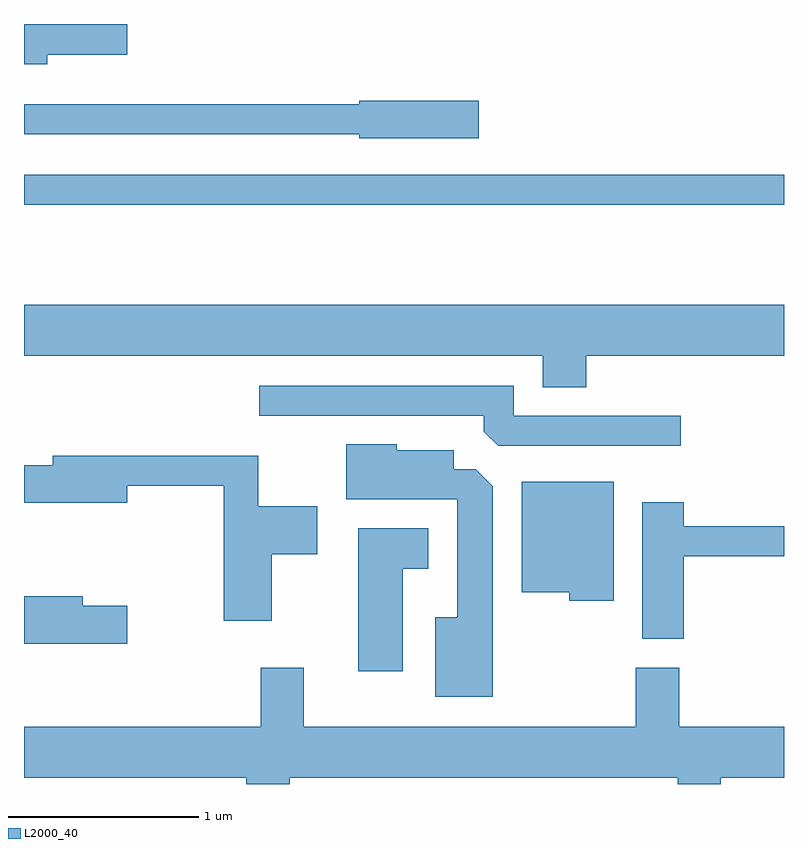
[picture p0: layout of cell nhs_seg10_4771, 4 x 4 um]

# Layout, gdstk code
import gdstk
lib = gdstk.Library(unit=1e-6, precision=1e-09)
def R(c, l, rs):  # rectangles x0, y0, x1, y1
    for r in rs: c.add(gdstk.rectangle(r[:2], r[2:], *l))
def P(c, l, *ps):  # polygons
    for p in ps: c.add(gdstk.Polygon(p, *l))
L2000_40 = (2000, 40)

nhs_seg10_4771 = lib.new_cell('nhs_seg10_4771')
R(nhs_seg10_4771, L2000_40, [(325.611,2143.571,329.611,2143.729)])
P(nhs_seg10_4771, L2000_40, [(325.734,2144.361),(326.154,2144.361),(326.154,2144.522),(325.611,2144.522),(325.611,2144.311),(325.734,2144.311)],
  [(328.004,2144.119),(327.376,2144.119),(327.376,2144.099),(325.611,2144.099),(325.611,2143.941),(327.376,2143.941),(327.376,2143.921),(328.004,2143.921)],
  [(328.569,2142.776),(329.611,2142.776),(329.611,2143.044),(325.611,2143.044),(325.611,2142.776),(328.341,2142.776),(328.341,2142.611),(328.569,2142.611)],
  [(329.068,2142.459),(328.189,2142.459),(328.189,2142.619),(326.848,2142.619),(326.848,2142.461),(328.031,2142.461),(328.031,2142.377),(328.107,2142.301),(329.068,2142.301)],
  [(328.079,2142.089),(327.989,2142.179),(327.874,2142.179),(327.874,2142.279),(327.574,2142.279),(327.574,2142.309),(327.306,2142.309),(327.306,2142.021),(327.891,2142.021),(327.891,2141.399),(327.776,2141.399),(327.776,2140.981),(328.079,2140.981)],
  [(326.914,2141.731),(327.154,2141.731),(327.154,2141.984),(326.844,2141.984),(326.844,2142.249),(325.761,2142.249),(325.761,2142.199),(325.611,2142.199),(325.611,2142.001),(326.154,2142.001),(326.154,2142.091),(326.661,2142.091),(326.661,2141.381),(326.914,2141.381)],
  [(328.714,2142.114),(328.231,2142.114),(328.231,2141.531),(328.481,2141.531),(328.481,2141.486),(328.714,2141.486)],
  [(329.084,2141.721),(329.611,2141.721),(329.611,2141.879),(329.084,2141.879),(329.084,2142.004),(328.866,2142.004),(328.866,2141.286),(329.084,2141.286)],
  [(327.604,2141.656),(327.739,2141.656),(327.739,2141.869),(327.371,2141.869),(327.371,2141.116),(327.604,2141.116)],
  [(326.154,2141.459),(325.919,2141.459),(325.919,2141.509),(325.611,2141.509),(325.611,2141.261),(326.154,2141.261)],
  [(327.009,2140.556),(329.051,2140.556),(329.051,2140.522),(329.279,2140.522),(329.279,2140.556),(329.611,2140.556),(329.611,2140.824),(329.059,2140.824),(329.059,2141.134),(328.831,2141.134),(328.831,2140.824),(327.084,2140.824),(327.084,2141.134),(326.856,2141.134),(326.856,2140.824),(325.611,2140.824),(325.611,2140.556),(326.781,2140.556),(326.781,2140.522),(327.009,2140.522)])

lib.write_gds('nhs_seg10_4771.gds')
